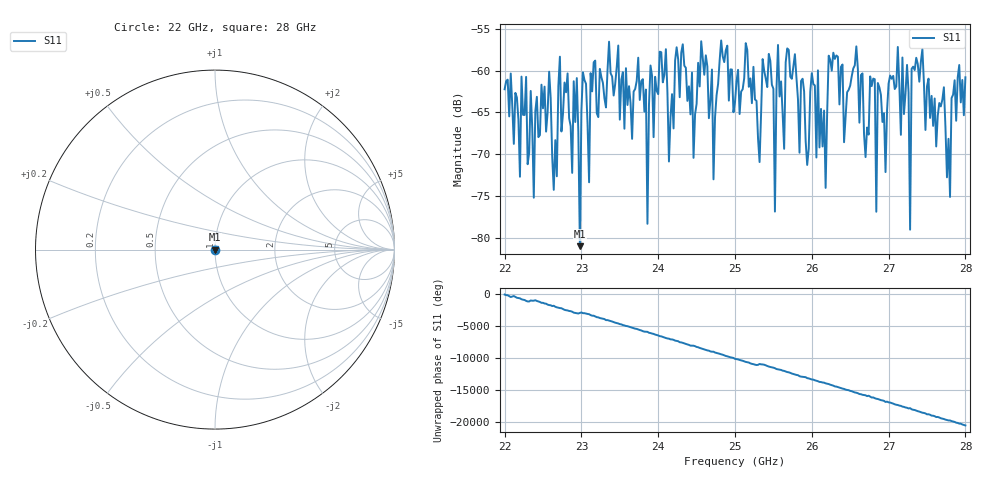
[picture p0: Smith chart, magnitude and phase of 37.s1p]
#  HZ  S  RI  R  50.00
! Rohde & Schwarz ZVA40 4Ports - Version 3.90 - 1145.1110k42 SN: 100403
! Date: 2023-10-04 11:32:15
! Measurement: S12
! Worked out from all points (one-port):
!   301 points, 22 GHz to 28 GHz, reference 50 ohm
!   lowest |S11| = -81.0 dB at 22.98 GHz (marker M1), VSWR 1.00, Z = 50 - j0.00651 ohm
!   |S11| at or under -10 dB: start of sweep to end of sweep
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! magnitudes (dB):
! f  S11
! 22 GHz  -62.2
! 22.76 GHz  -65.2
! 22.94 GHz  -60.9
! 22.98 GHz  -81.0
! 23.02 GHz  -60.2
! 23.1 GHz  -73.3
! 23.5 GHz  -65.9
! 23.74 GHz  -58.5
! 23.84 GHz  -62.3
! 23.86 GHz  -78.3
! 23.9 GHz  -59.4
! 24.26 GHz  -58.7
! 25 GHz  -63.8
! 25.44 GHz  -58.0
! 25.52 GHz  -76.8
! 25.56 GHz  -56.9
! 25.76 GHz  -59.5
! 26.18 GHz  -74.0
! 26.22 GHz  -58.2
! 26.5 GHz  -61.8
! 26.82 GHz  -61.0
! 26.84 GHz  -76.9
! 26.86 GHz  -61.5
! 27.26 GHz  -62.6
! 27.28 GHz  -79.0
! 27.3 GHz  -59.8
! 27.8 GHz  -75.1
! 28 GHz  -60.8
